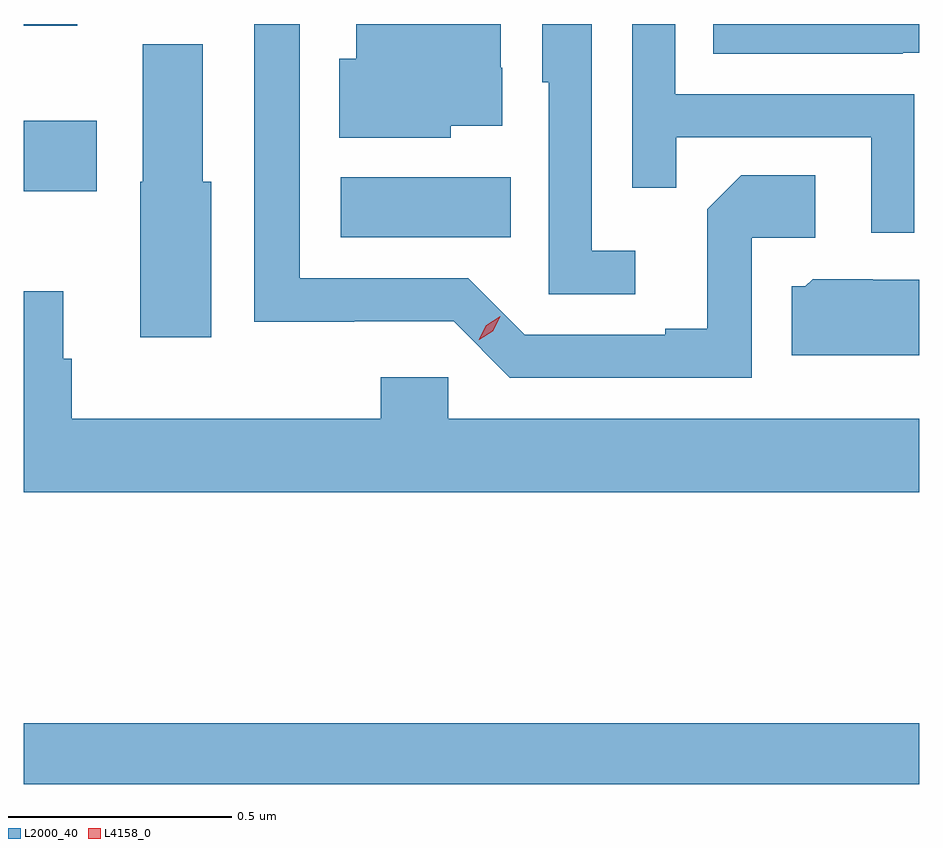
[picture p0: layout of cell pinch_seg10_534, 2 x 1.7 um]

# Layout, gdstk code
import gdstk
lib = gdstk.Library(unit=1e-6, precision=1e-09)
def R(c, l, rs):  # rectangles x0, y0, x1, y1
    for r in rs: c.add(gdstk.rectangle(r[:2], r[2:], *l))
def P(c, l, *ps):  # polygons
    for p in ps: c.add(gdstk.Polygon(p, *l))
L2000_40 = (2000, 40)
L4158_0 = (4158, 0)

pinch_seg10_534 = lib.new_cell('pinch_seg10_534')
R(pinch_seg10_534, L2000_40, [(262.098,1300.996,264.098,1301.132), (262.806,1302.218,263.186,1302.352), (262.098,1302.32,262.261,1302.478), (262.098,1302.69,262.217,1302.694)])
P(pinch_seg10_534, L2000_40, [(264.062,1302.63),(264.098,1302.63),(264.098,1302.694),(263.638,1302.694),(263.638,1302.627),(264.062,1302.627)],
  [(263.052,1302.467),(263.167,1302.467),(263.167,1302.596),(263.163,1302.596),(263.163,1302.694),(262.841,1302.694),(262.841,1302.616),(262.802,1302.616),(262.802,1302.44),(263.052,1302.44)],
  [(264.087,1302.537),(263.553,1302.537),(263.553,1302.694),(263.457,1302.694),(263.457,1302.328),(263.555,1302.328),(263.555,1302.441),(263.991,1302.441),(263.991,1302.228),(264.087,1302.228)],
  [(263.724,1302.216),(263.866,1302.216),(263.866,1302.356),(263.701,1302.356),(263.625,1302.28),(263.625,1302.013),(263.531,1302.013),(263.531,1302),(263.217,1302),(263.091,1302.126),(262.714,1302.126),(262.714,1302.694),(262.613,1302.694),(262.613,1302.029),(262.836,1302.029),(262.836,1302.03),(263.058,1302.03),(263.184,1301.904),(263.724,1301.904)],
  [(263.464,1302.187),(263.367,1302.187),(263.367,1302.694),(263.256,1302.694),(263.256,1302.564),(263.271,1302.564),(263.271,1302.09),(263.464,1302.09)],
  [(262.516,1302.342),(262.498,1302.342),(262.498,1302.649),(262.364,1302.649),(262.364,1302.342),(262.358,1302.342),(262.358,1301.994),(262.516,1301.994)],
  [(264.098,1302.123),(263.994,1302.123),(263.994,1302.124),(263.86,1302.124),(263.844,1302.108),(263.813,1302.108),(263.813,1301.954),(264.098,1301.954)],
  [(264.098,1301.812),(263.046,1301.812),(263.046,1301.905),(262.895,1301.905),(262.895,1301.812),(262.205,1301.812),(262.205,1301.946),(262.186,1301.946),(262.186,1302.097),(262.098,1302.097),(262.098,1301.648),(264.098,1301.648)])
P(pinch_seg10_534, L4158_0, [(263.114,1301.988),(263.114,1301.989),(263.131,1302.021),(263.162,1302.041),(263.162,1302.041),(263.162,1302.04),(263.146,1302.008),(263.115,1301.988)])

lib.write_gds('pinch_seg10_534.gds')
